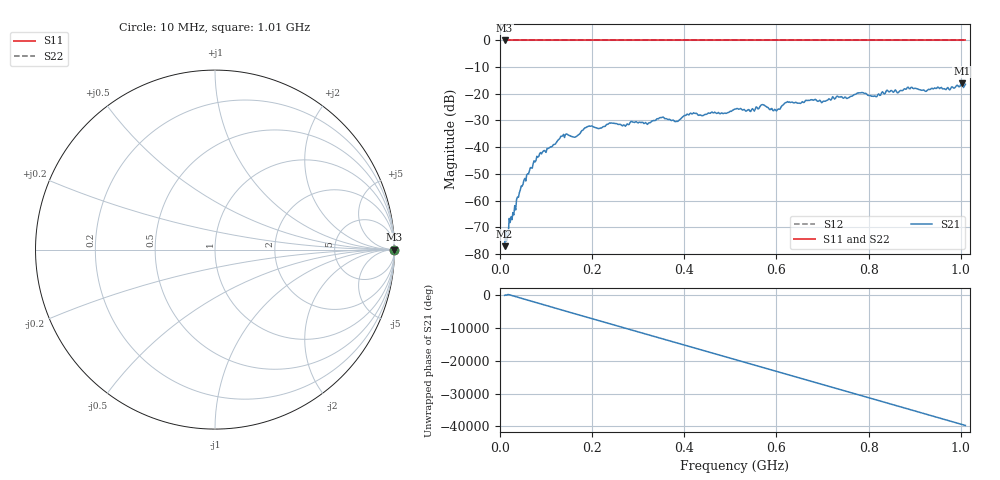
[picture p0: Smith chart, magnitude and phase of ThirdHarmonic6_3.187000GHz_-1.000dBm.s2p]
! 8/17/2025 9:38:30 AM
! C:\ANRITSUVNA\TEMP\TEMP.S2P
! CHANNEL.1
! TR.MEASUREMENT
! RAW.DATA
! RF.CORRECTION.OFF
! AVERAGING.OFF
! IF.BANDWIDTH: 5KHZ
! SWEEPTYPE:  FREQ.SWEEP(Linear)
! Reference Plane Port Info
! PORT:  PORT1  PORT2
! DISTANCE:  0  m  0  m
! TIME:  0  s  0  s
! PHASE.OFFSET:  0  deg.  0  deg.
! LOSS:  0  dB  0  dB
! REF.LOSS:  0  dB  0  dB
! REF.FREQ:  0  Hz  0  Hz
! Power Info
! POWER:  -20  dBm  -20  dBm
! EFF.POWER:  -20  dBm  -20  dBm
! SOURCE.ATTEN:  0  dB  0  dB
! TEST.ATTEN:  0  dB  0  dB
# GHZ S RI R 50.0
! FREQ.GHZ  S11RE  S11IM  S21RE  S21IM  S12RE  S12IM  S22RE  S22IM
!; PortSelection: Port_12
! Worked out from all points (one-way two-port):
!   501 points, 10 MHz to 1.01 GHz, reference 50 ohm
!   highest |S21| = -16.00 dB at 1.002 GHz (marker M1); lowest = -77.1 dB at 10 MHz (marker M2)
!   lowest |S11| = 0.0 dB at 10 MHz (marker M3)
!   |S11| at or under -10 dB: nowhere
!   |S22| runs from 0.0 to 0.0 dB; largest |S21 - S12| = 1.1
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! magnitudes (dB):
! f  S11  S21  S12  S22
! 10 MHz  0.0  -77.1  0.0  0.0
! 48 MHz  0.0  -54.7  0.0  0.0
! 84 MHz  0.0  -43.5  0.0  0.0
! 134 MHz  0.0  -35.9  0.0  0.0
! 164 MHz  0.0  -36.2  0.0  0.0
! 178 MHz  0.0  -33.8  0.0  0.0
! 194 MHz  0.0  -32.1  0.0  0.0
! 322 MHz  0.0  -31.0  0.0  0.0
! 344 MHz  0.0  -29.4  0.0  0.0
! 384 MHz  0.0  -30.3  0.0  0.0
! 416 MHz  0.0  -27.5  0.0  0.0
! 510 MHz  0.0  -25.7  0.0  0.0
! 548 MHz  0.0  -25.6  0.0  0.0
! 570 MHz  0.0  -24.0  0.0  0.0
! 596 MHz  0.0  -25.8  0.0  0.0
! 622 MHz  0.0  -23.2  0.0  0.0
! 678 MHz  0.0  -22.3  0.0  0.0
! 782 MHz  0.0  -19.7  0.0  0.0
! 814 MHz  0.0  -20.8  0.0  0.0
! 844 MHz  0.0  -19.3  0.0  0.0
! 1.002 GHz  0.0  -16.0  0.0  0.0
! 1.01 GHz  0.0  -16.4  0.0  0.0
